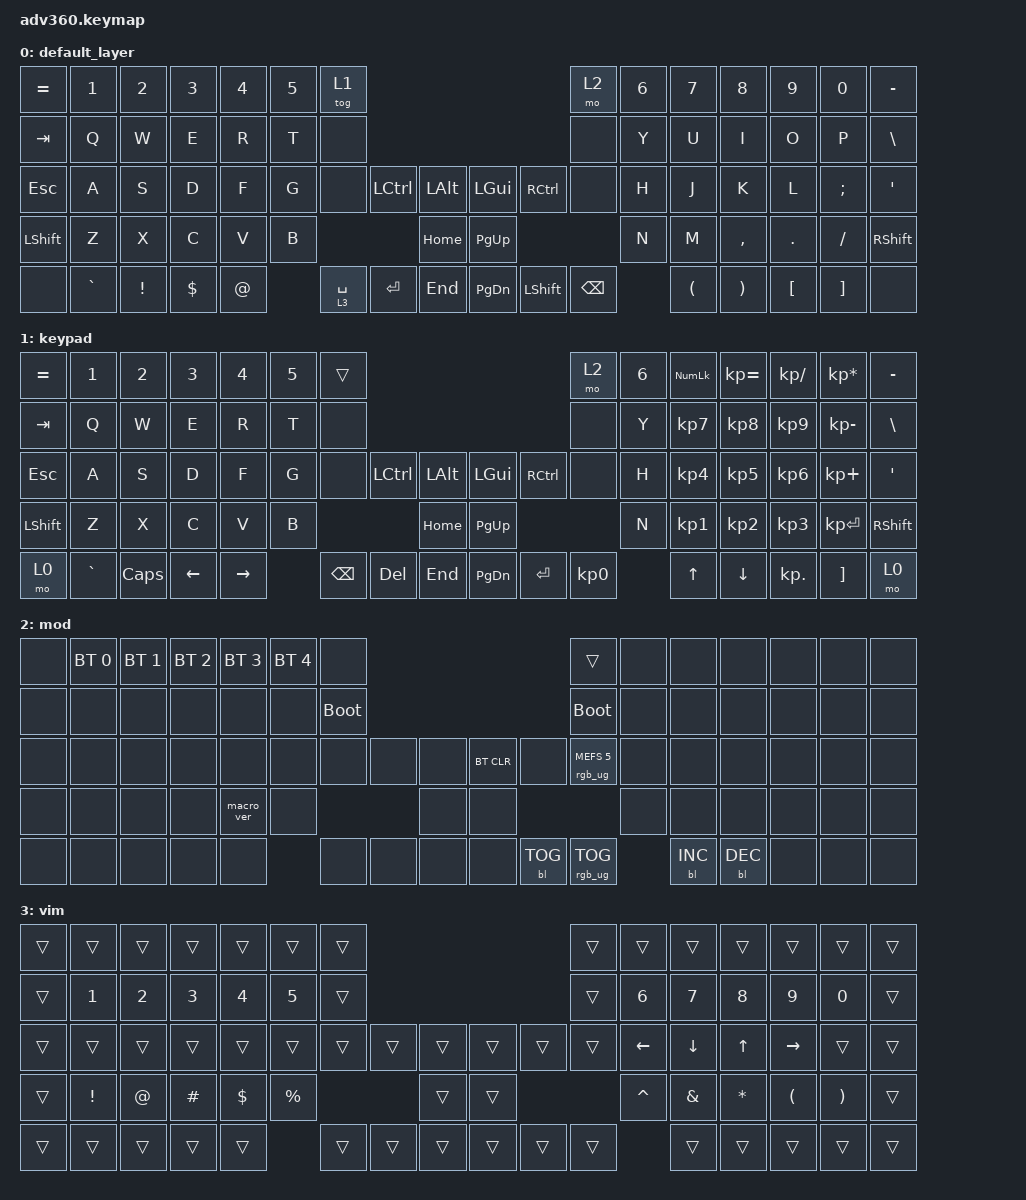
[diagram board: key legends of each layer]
#include <behaviors.dtsi>
#include <dt-bindings/zmk/backlight.h>
#include <dt-bindings/zmk/bt.h>
#include <dt-bindings/zmk/keys.h>
#include <dt-bindings/zmk/rgb.h>

/ {
    behaviors {
        #include "macros.dtsi"
      #include "version.dtsi"
      #ifndef VERSION_MACRO

        macro_ver: macro_ver {
            compatible = "zmk,behavior-macro";
            label = "macro_version";
            #binding-cells = <0>;
            bindings = <&kp RET>;
        };

        #endif

        hm: homerow_mods {
            compatible = "zmk,behavior-hold-tap";
            label = "HOMEROW_MODS";
            #binding-cells = <2>;
            tapping-term-ms = <200>;
            quick_tap_ms = <175>;
            flavor = "tap-preferred";
            bindings = <&kp>, <&kp>;
        };
    };

    macros {
    };

    keymap {
        compatible = "zmk,keymap";

        default_layer {
            bindings = <
&kp EQUAL  &kp N1     &kp N2    &kp N3    &kp N4       &kp N5  &tog 1                                                           &mo 2          &kp N6  &kp N7                &kp N8                 &kp N9    &kp N0    &kp MINUS
&kp TAB    &kp Q      &kp W     &kp E     &kp R        &kp T   &none                                                            &none          &kp Y   &kp U                 &kp I                  &kp O     &kp P     &kp BSLH
&kp ESC    &kp A      &kp S     &kp D     &kp F        &kp G   &none        &kp LCTRL  &kp LALT      &kp LGUI   &kp RCTRL       &none          &kp H   &kp J                 &kp K                  &kp L     &kp SEMI  &kp SQT
&kp LSHFT  &kp Z      &kp X     &kp C     &kp V        &kp B                           &kp HOME      &kp PG_UP                                 &kp N   &kp M                 &kp COMMA              &kp DOT   &kp FSLH  &kp RSHFT
&none      &kp GRAVE  &kp EXCL  &kp DLLR  &kp AT_SIGN          &lt 3 SPACE  &kp ENTER  &kp END       &kp PG_DN  &kp LEFT_SHIFT  &kp BACKSPACE          &kp LEFT_PARENTHESIS  &kp RIGHT_PARENTHESIS  &kp LBKT  &kp RBKT  &none
            >;
        };

        keypad {
            bindings = <
&kp EQUAL  &kp N1     &kp N2    &kp N3    &kp N4     &kp N5  &trans                                                   &mo 2      &kp N6  &kp KP_NUM  &kp KP_EQUAL  &kp KP_DIVIDE  &kp KP_MULTIPLY  &kp MINUS
&kp TAB    &kp Q      &kp W     &kp E     &kp R      &kp T   &none                                                    &none      &kp Y   &kp KP_N7   &kp KP_N8     &kp KP_N9      &kp KP_MINUS     &kp BSLH
&kp ESC    &kp A      &kp S     &kp D     &kp F      &kp G   &none     &kp LCTRL  &kp LALT      &kp LGUI   &kp RCTRL  &none      &kp H   &kp KP_N4   &kp KP_N5     &kp KP_N6      &kp KP_PLUS      &kp SQT
&kp LSHFT  &kp Z      &kp X     &kp C     &kp V      &kp B                        &kp HOME      &kp PG_UP                        &kp N   &kp KP_N1   &kp KP_N2     &kp KP_N3      &kp KP_ENTER     &kp RSHFT
&mo 0      &kp GRAVE  &kp CAPS  &kp LEFT  &kp RIGHT          &kp BSPC  &kp DEL    &kp END       &kp PG_DN  &kp ENTER  &kp KP_N0          &kp UP      &kp DOWN      &kp KP_DOT     &kp RBKT         &mo 0
            >;
        };

        mod {
            bindings = <
&none  &bt BT_SEL 0  &bt BT_SEL 1  &bt BT_SEL 2  &bt BT_SEL 3  &bt BT_SEL 4  &none                                                  &trans                  &none  &none       &none       &none  &none  &none
&none  &none         &none         &none         &none         &none         &bootloader                                            &bootloader             &none  &none       &none       &none  &none  &none
&none  &none         &none         &none         &none         &none         &none        &none  &none      &bt BT_CLR  &none       &rgb_ug RGB_MEFS_CMD 5  &none  &none       &none       &none  &none  &none
&none  &none         &none         &none         &macro_ver    &none                             &none      &none                                           &none  &none       &none       &none  &none  &none
&none  &none         &none         &none         &none                       &none        &none  &none      &none       &bl BL_TOG  &rgb_ug RGB_TOG                &bl BL_INC  &bl BL_DEC  &none  &none  &none
            >;
        };

        vim {
            bindings = <
&trans  &trans        &trans        &trans    &trans      &trans       &trans                                      &trans  &trans     &trans         &trans        &trans                &trans                 &trans
&trans  &kp NUMBER_1  &kp NUMBER_2  &kp N3    &kp N4      &kp N5       &trans                                      &trans  &kp N6     &kp N7         &kp N8        &kp N9                &kp N0                 &trans
&trans  &trans        &trans        &trans    &trans      &trans       &trans  &trans  &trans      &trans  &trans  &trans  &kp LEFT   &kp DOWN       &kp UP        &kp RIGHT             &trans                 &trans
&trans  &kp EXCL      &kp AT        &kp HASH  &kp DOLLAR  &kp PERCENT                  &trans      &trans                  &kp CARET  &kp AMPERSAND  &kp ASTERISK  &kp LEFT_PARENTHESIS  &kp RIGHT_PARENTHESIS  &trans
&trans  &trans        &trans        &trans    &trans                   &trans  &trans  &trans      &trans  &trans  &trans             &trans         &trans        &trans                &trans                 &trans
            >;
        };
    };
};
